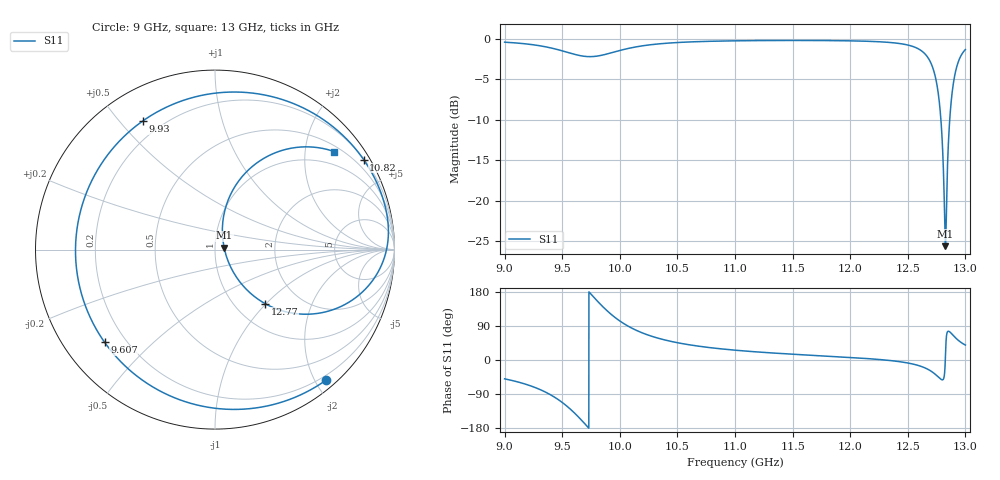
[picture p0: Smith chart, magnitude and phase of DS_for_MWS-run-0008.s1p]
! TOUCHSTONE file generated by CST DESIGN STUDIO
! Date and time: Tue Feb  4 17:37:59 2025
! Project name: C:\Work\MatlabApps\UnitCellOptimizationMatlab\CST\unitcell.cst
! Tree item: Tasks\Sweep1\SPara1\S-Parameters
! Header version: 2024
! Port assignment regex: !\s*Touchstone port\s*([0-9]+)\s*=\s*(CST MWS port|CST DES external port|CST DES block port)\s*(.+)\s* \(\"(.*)\"\)(\s*mode\s*([0-9]+))?.*
! Touchstone port assignment:
! Touchstone port 1 = CST DES external port 1 ("")
# GHz S MA R 50
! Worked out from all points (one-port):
!   4001 points, 9 GHz to 13 GHz, reference 50 ohm
!   lowest |S11| = -25.6 dB at 12.83 GHz (marker M1), VSWR 1.11, Z = 55.4 + j1.12 ohm
!   |S11| at or under -10 dB: 12.79 GHz to 12.86 GHz (76.25 MHz wide, 0.595 % of centre)
!   S11 on the Smith chart (normalised r, x): 9 GHz: 0.13, -2.15; 9.607 GHz: 0.12, -0.36; 9.93 GHz: 0.13, +0.58; 10.82 GHz: 0.22, +3.56; 12.77 GHz: 1.36, -0.99; 13 GHz: 0.63, +2.66
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9  0.9546 -49.7
9.262  0.917 -72.3
9.396  0.8814 -91.3
9.5  0.8441 -112.0
9.607  0.8031 -140.0
9.686  0.7819 -164.8
9.758  0.7776 171.0
9.849  0.7944 141.7
9.93  0.8221 119.2
10  0.8482 103.0
10.229  0.9131 67.6
10.5  0.9498 45.6
10.823  0.9681 31.2
11  0.973 25.9
11.5  0.9781 15.3
12  0.9727 6.7
12.5  0.9167 -7.9
12.663  0.7872 -22.8
12.73  0.6189 -35.6
12.773  0.4114 -47.1
12.793  0.2776 -51.8
12.815  0.1108 -44.8
12.827  0.05255 11.0
12.839  0.1187 69.8
12.866  0.3329 73.8
12.891  0.504 66.0
12.935  0.7103 52.8
13  0.8597 39.5
